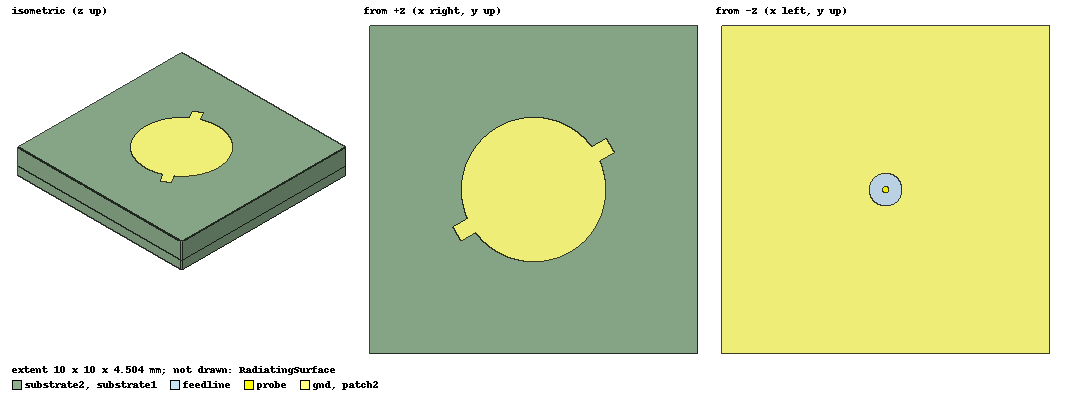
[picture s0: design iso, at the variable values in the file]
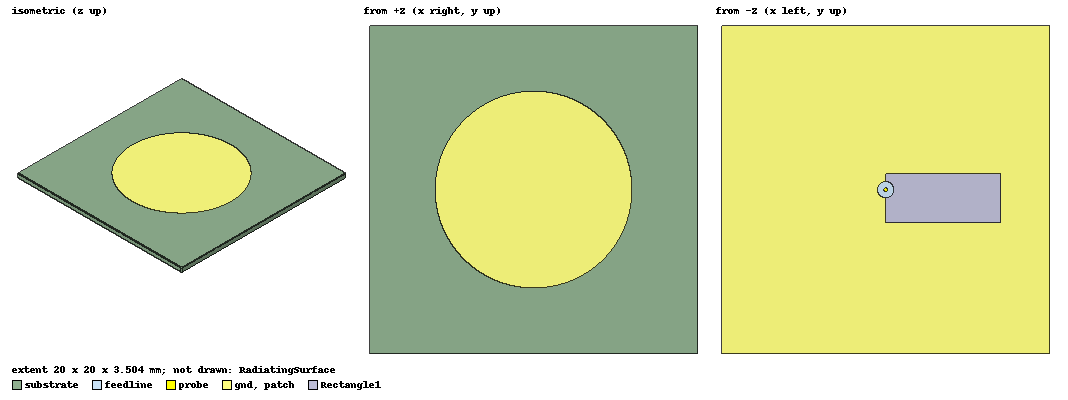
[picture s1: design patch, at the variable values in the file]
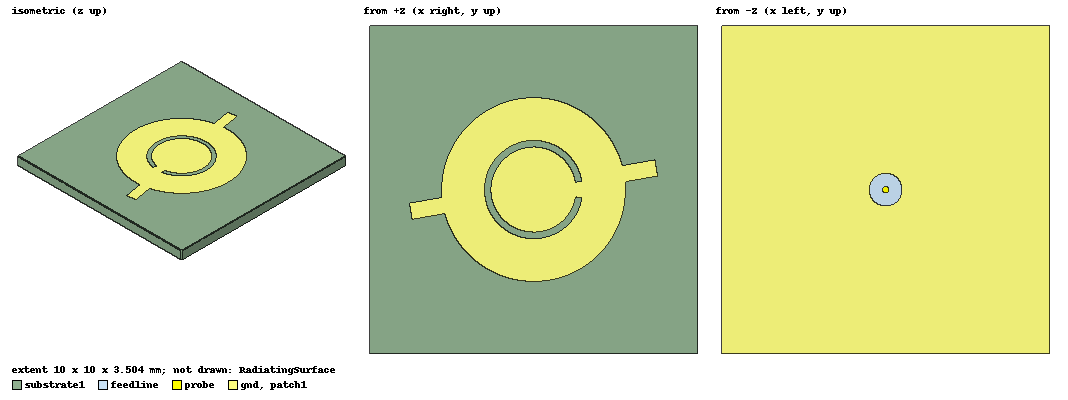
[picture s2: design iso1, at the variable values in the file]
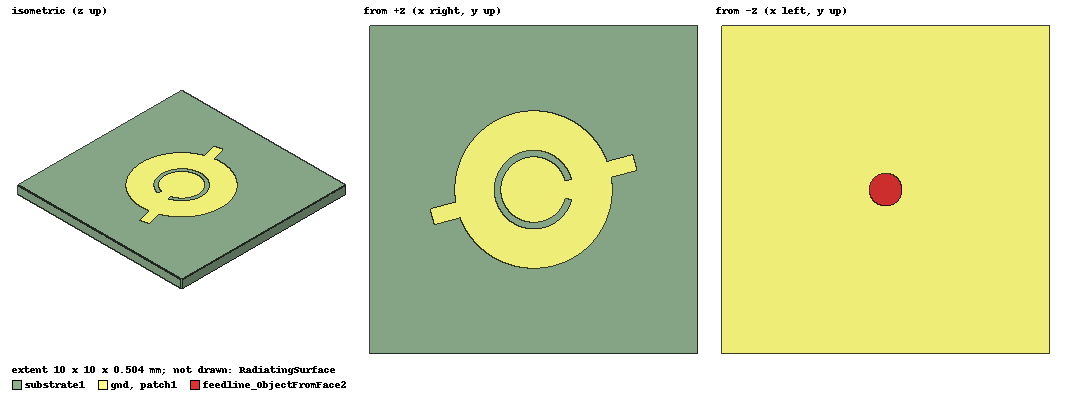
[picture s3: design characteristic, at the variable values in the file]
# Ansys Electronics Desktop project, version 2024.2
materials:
  vacuum: permittivity=1
  Rogers RT/duroid 5880 (tm): permittivity=2.2 dielectric_loss_tangent=0.0009
  pec: conductivity=1e+30
  Material2: permittivity=3.4 dielectric_loss_tangent=0.002
  Material1: permittivity=2.2
  copper: permeability=0.999991 conductivity=58000000

design iso (HFSS, HFSS Modal Network, model units mm)
options: Allow_Material_Override
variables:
  l = 10mm
  w = 10mm
  sub1h = 0.504mm
  posx = 0mm
  posy = 0mm
  a = 2.4mm
  beta = 9deg
  r1 = r2+wc
  r2 = 0.9mm
  ls = 1mm  # optimise 0.5mm..1.5mm
  ws = 0.75mm  # optimise 0.375mm..1.125mm
  alpha = 10deg  # optimise 5deg..15deg
  sub2h = 1mm
  a2 = 2.2mm
  ls2 = 0.5mm  # optimise 0.25mm..0.75mm
  ws2 = 0.5mm  # optimise 0.25mm..0.75mm
  alpha2 = 30deg  # optimise 15deg..45deg
  wc = 0.2mm
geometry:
  substrate1 [Rogers RT/duroid 5880 (tm)] = box(corner=(l/2, w/2, 0mm), size=(-l, -w, sub1h))
  RadiatingSurface [vacuum] = region(absolute_offset: +X=3.3333333mm, -X=3.3333333mm, +Y=3.3333333mm, -Y=3.3333333mm, +Z=3.3333333mm, -Z=0mm)
  gnd = object_from(substrate1.face(-z))
  feedline [vacuum] = cylinder(axis=Z, base_centre=(posx, posy, -3mm), radius=0.5mm, height=3mm)
  probe [pec] = cylinder(axis=Z, base_centre=(posx, posy, -3mm), radius=0.1mm, height=sub1h+3mm)
  patch1 = circle(normal=Z, centre=(0mm, 0mm, sub1h), radius=a)
  feedline_ObjectFromFace1 = object_from(feedline.face(+z end))
  gnd.subtract(feedline_ObjectFromFace1)
  Polyline1 = polyline((r1*cos(beta), r1*sin(beta), sub1h) (-1.1mm, 1.3877788e-16mm, 0.504mm) (1.0864572mm, -0.17207791mm, 0.504mm), AngularArc from point 0 over 3 centre=(0mm, 0mm, sub1h) angle=360deg-2*beta plane=XY)
  Polyline2 = polyline((r2*cos(beta), r2*sin(beta), sub1h) (-0.9mm, 5.5511151e-17mm, 0.504mm) (0.88891951mm, -0.14079102mm, 0.504mm), AngularArc from point 0 over 3 centre=(0mm, 0mm, sub1h) angle=360deg-2*beta plane=XY)
  Polyline3 = polyline((r1*cos(beta), r1*sin(beta), sub1h) (r2*cos(beta), r2*sin(beta), sub1h))
  Polyline4 = polyline((r1*cos(beta), -r1*sin(beta), sub1h) (r2*cos(beta), -r2*sin(beta), sub1h))
  Polyline4.unite(Polyline1, Polyline2, Polyline3)
  Polyline4.cover_lines()
  Rectangle1 = rectangle(corner=(-ls-a, -ws/2, sub1h), x_size=ls+a, y_size=ws)
  Rectangle1_1 = Rectangle1.duplicate_around_axis(axis=Z, angle=180deg, total=2)
  Rectangle1_1.unite(Rectangle1)
  Rectangle1_1.rotate(axis=Z, angle=alpha)
  substrate2 [Rogers RT/duroid 5880 (tm)] = box(corner=(5mm, 5mm, sub1h), size=(-10mm, -10mm, sub2h))
  patch2 = circle(normal=Z, centre=(0mm, 0mm, sub1h+sub2h), radius=a2)
  Rectangle2 = rectangle(corner=(-ls2-a2, -ws2/2, sub1h+sub2h), x_size=ls2+a2, y_size=ws2)
  Rectangle1_2 = Rectangle2.duplicate_around_axis(axis=Z, angle=180deg, total=2)
  Rectangle1_2.unite(Rectangle2)
  Rectangle1_2.rotate(axis=Z, angle=alpha2)
  patch1.unite(Rectangle1_1)
  patch2.unite(Rectangle1_2)
  patch1.subtract(Polyline4)
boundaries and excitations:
  AutoOpen1: Radiation Objects=RadiatingSurface
  FiniteCond1: Finite Conductivity Objects=[gnd, patch1] Conductivity=58000000 Permeability=1 IsInternal
  PerfE1: Perfect E Faces=feedline.face(side)
  FiniteCond2: Finite Conductivity Objects=patch2 Conductivity=58000000 Permeability=1 IsInternal
  1: Wave Port Faces=feedline.face(-z end) WavePortType=Modal NumModes=1 Modes{Mode1{CharImp=Zpi}}
  reference conductors: probe
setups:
  Auto1: HfssDriven Frequency=30GHz MaxDeltaS=0.02 MaximumPasses=10 MinimumPasses=1 MinimumConvergedPasses=1 PercentRefinement=30 BasisOrder=1 PortAccuracy=2 DrivenSolverType="Direct Solver"
    sweep Sweep: 15GHz to 25GHz step 0.2GHz; Type=Discrete SaveFields
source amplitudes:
  1:1: 1 0deg
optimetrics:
  a: Parametric Sim._Setups=[Auto1]
    sweep a: LIN 2.5mm 2.7mm 0.1mm
  alpha: Parametric Sim._Setups=[Auto1]
    sweep alpha: LIN 10deg 20deg 10deg
  beta: Parametric Sim._Setups=[Auto1]
    sweep beta: LIN 5deg 10deg 2deg
  r2: Parametric Sim._Setups=[Auto1]
    sweep r2: LIN 0.8mm 1mm 0.2mm
  ls: Parametric Sim._Setups=[Auto1]
    sweep ls: LIN 0.8mm 1.2mm 0.2mm
  ls2: Parametric Sim._Setups=[Auto1]
    sweep ls2: LIN 0.5mm 0.6mm 0.1mm
  a2: Parametric Sim._Setups=[Auto1]
    sweep a2: 1.8mm
  wc: Parametric Sim._Setups=[Auto1]
    sweep wc: LIN 0.3mm 0.4mm 0.1mm
  alpha2: Parametric Sim._Setups=[Auto1]
    sweep alpha2: LIN 30deg 40deg 10deg
  ws: Parametric Sim._Setups=[Auto1]
    sweep ws: LIN 0.25mm 0.75mm 0.5mm
  ws2: Parametric Sim._Setups=[Auto1]
    sweep ws2: LIN 0.25mm 0.75mm 0.5mm
  OptimizationSetup1: Optimization Optimizer="DX SCREENING" AnalysisStopOptions{StopForNumIteration MaxNumIteration=100 MinNumIteration=10} CostFuncNormType=L2 Acceptable_Cost=0 Noise=0.0001 UpdateDesignWhenDone
    goal dB(AxialRatioValue) <= 3 weight 1 on Auto1 : Sweep at Theta 0deg, Phi 0deg, Freq 19GHz,19.2GHz,19.4GHz,19.6GHz,19.8GHz,20GHz,20.2GHz,20.4GHz,20.6GHz,20.8GHz,21GHz
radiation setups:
  3D: Infinite Sphere Theta=0deg..180deg step 2deg Phi=-180deg..180deg step 2deg
  Elevation: Infinite Sphere Theta=-180deg..180deg step 1deg Phi=0deg..90deg step 90deg
  Azimuth: Infinite Sphere Theta=90deg..90deg step 0deg Phi=-180deg..180deg step 1deg
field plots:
  Vector_Jsurf1: Jsurf over patch1.face(at (0, 0, 0.504)) on Auto1 : Sweep at Freq=19GHz Phase=0deg
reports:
  S Parameter Plot 1: dB(S(1,1)) vs Freq on Auto1 : Sweep [r2=all]; markers MX1 at x=1.8767034e+10, MY1 at y=-10
  Axial Ratio Plot 1: dB(AxialRatioValue) vs Freq on Auto1 : Sweep, 3D [Phi=0deg Theta=0deg beta=9deg,10deg,15deg]

design patch (HFSS, HFSS Modal Network, model units mm)
options: Allow_Material_Override
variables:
  l = 20mm
  w = 20mm
  sub1h = 0.504mm
  posx = 0mm
  posy = 0mm
  a = 6mm
  beta = 30deg
  r1 = 4mm
  r2 = 3mm
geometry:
  substrate [Rogers RT/duroid 5880 (tm)] = box(corner=(l/2, w/2, 0mm), size=(-l, -w, sub1h))
  RadiatingSurface [vacuum] = region(absolute_offset: +X=3.3333333mm, -X=3.3333333mm, +Y=3.3333333mm, -Y=3.3333333mm, +Z=3.3333333mm, -Z=0mm)
  gnd = object_from(substrate.face(-z))
  feedline [vacuum] = cylinder(axis=Z, base_centre=(posx, posy, -3mm), radius=0.5mm, height=3mm)
  probe [pec] = cylinder(axis=Z, base_centre=(posx, posy, -3mm), radius=0.1mm, height=sub1h+3mm)
  patch = circle(normal=Z, centre=(0mm, 0mm, sub1h), radius=a)
  feedline_ObjectFromFace1 = object_from(feedline.face(+z end))
  gnd.subtract(feedline_ObjectFromFace1)
  Rectangle1 = rectangle(corner=(-7mm, -2mm, 0mm), x_size=7mm, y_size=3mm)
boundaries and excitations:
  AutoOpen1: Radiation Objects=RadiatingSurface
  FiniteCond1: Finite Conductivity Objects=[gnd, patch] Conductivity=58000000 Permeability=1 IsInternal
  PerfE1: Perfect E Faces=feedline.face(side)
  1: Wave Port Faces=feedline.face(-z end) WavePortType=Modal NumModes=1 Modes{Mode1{CharImp=Zpi}}
  reference conductors: probe
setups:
  Auto1: HfssDriven Frequency=30GHz MaxDeltaS=0.02 MaximumPasses=10 MinimumPasses=1 MinimumConvergedPasses=1 PercentRefinement=30 BasisOrder=1 PortAccuracy=2 DrivenSolverType="Direct Solver"
    sweep Sweep: 15GHz to 45GHz, 401 points; Type=Interpolating SaveFields InterpTolerance=0.5 InterpMaxSolns=250 InterpUsePortImped=false PassivityErrorTolerance=0.0001
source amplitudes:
  1:1: 1 0deg
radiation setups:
  3D: Infinite Sphere Theta=0deg..180deg step 2deg Phi=-180deg..180deg step 2deg
  Elevation: Infinite Sphere Theta=-180deg..180deg step 1deg Phi=0deg..90deg step 90deg
  Azimuth: Infinite Sphere Theta=90deg..90deg step 0deg Phi=-180deg..180deg step 1deg
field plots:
  Vector_Jsurf1: Jsurf over patch.face on Auto1 : Sweep at Freq=22.5GHz Phase=0deg
  Vector_E1: E Field over substrate.face(+z) on Auto1 : Sweep at Freq=40.3125GHz Phase=0deg
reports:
  S Parameter Plot 1: dB(S(1,1)) vs Freq on Auto1 : Sweep; markers m1 at 22.35GHz, m2 at 38.325GHz, m3 at 41.1GHz

design iso1 (HFSS, HFSS Modal Network, model units mm)
options: Allow_Material_Override
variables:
  l = 10mm
  w = 10mm
  sub1h = 0.504mm
  posx = 0mm
  posy = 0mm
  a = 2.8mm
  beta = 10deg
  r1 = r2+wc
  r2 = 1.3mm
  ls = 1mm
  ws = 0.5mm
  alpha = 10deg
  sub2h = 1mm
  a2 = 2mm
  ls2 = 0.7mm
  ws2 = ls2
  alpha2 = 45deg
  wc = 0.2mm
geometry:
  substrate1 [Rogers RT/duroid 5880 (tm)] = box(corner=(l/2, w/2, 0mm), size=(-l, -w, sub1h))
  RadiatingSurface [vacuum] = region(absolute_offset: +X=3.3333333mm, -X=3.3333333mm, +Y=3.3333333mm, -Y=3.3333333mm, +Z=3.3333333mm, -Z=0mm)
  gnd = object_from(substrate1.face(-z))
  feedline [vacuum] = cylinder(axis=Z, base_centre=(posx, posy, -3mm), radius=0.5mm, height=3mm)
  probe [pec] = cylinder(axis=Z, base_centre=(posx, posy, -3mm), radius=0.1mm, height=sub1h+3mm)
  feedline_ObjectFromFace1 = object_from(feedline.face(+z end))
  gnd.subtract(feedline_ObjectFromFace1)
  patch1 = circle(normal=Z, centre=(0mm, 0mm, sub1h), radius=a)
  Rectangle1 = rectangle(corner=(-ls-a, -ws/2, sub1h), x_size=ls+a, y_size=ws)
  Rectangle1_1 = Rectangle1.duplicate_around_axis(axis=Z, angle=180deg, total=2)
  Rectangle1_1.unite(Rectangle1)
  Rectangle1_1.rotate(axis=Z, angle=alpha)
  patch1.unite(Rectangle1_1)
  Polyline4 = polyline((r1*cos(beta), -r1*sin(beta), sub1h) (r2*cos(beta), -r2*sin(beta), sub1h))
  Polyline1 = polyline((r1*cos(beta), r1*sin(beta), sub1h) (-1.5mm, -5.5511151e-17mm, 0.504mm) (1.4772116mm, -0.26047227mm, 0.504mm), AngularArc from point 0 over 3 centre=(0mm, 0mm, sub1h) angle=360deg-2*beta plane=XY)
  Polyline2 = polyline((r2*cos(beta), r2*sin(beta), sub1h) (-1.3mm, -5.5511151e-17mm, 0.504mm) (1.2802501mm, -0.22574263mm, 0.504mm), AngularArc from point 0 over 3 centre=(0mm, 0mm, sub1h) angle=360deg-2*beta plane=XY)
  Polyline3 = polyline((r1*cos(beta), r1*sin(beta), sub1h) (r2*cos(beta), r2*sin(beta), sub1h))
  Polyline4.unite(Polyline1, Polyline2, Polyline3)
  Polyline4.cover_lines()
  patch1.subtract(Polyline4)
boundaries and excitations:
  AutoOpen1: Radiation Objects=RadiatingSurface
  FiniteCond1: Finite Conductivity Objects=gnd Conductivity=58000000 Permeability=1 IsInternal
  PerfE1: Perfect E Faces=feedline.face(side)
  FiniteCond2: Finite Conductivity Objects=patch1 Conductivity=58000000 Permeability=1 IsInternal
  1: Wave Port Faces=feedline.face(-z end) WavePortType=Modal NumModes=1 Modes{Mode1{CharImp=Zpi}}
  reference conductors: probe
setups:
  Auto1: HfssDriven Frequency=30GHz MaxDeltaS=0.02 MaximumPasses=10 MinimumPasses=1 MinimumConvergedPasses=1 PercentRefinement=30 BasisOrder=1 PortAccuracy=2 DrivenSolverType="Direct Solver"
    sweep Sweep: 15GHz to 30GHz step 0.1GHz; Type=Interpolating SaveFields InterpTolerance=0.5 InterpMaxSolns=250 InterpUsePortImped=false PassivityErrorTolerance=0.0001
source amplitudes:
  1:1: 1 0deg
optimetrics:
  a: Parametric Sim._Setups=[Auto1]
    sweep a: LIN 2.5mm 2.7mm 0.1mm
  alpha: Parametric Sim._Setups=[Auto1]
    sweep alpha: LIN 30deg 60deg 30deg
  beta: Parametric Sim._Setups=[Auto1]
    sweep beta: 10deg
  r2: Parametric Sim._Setups=[Auto1]
    sweep r2: LIN 1mm 1.2mm 0.1mm
  ls: Parametric Sim._Setups=[Auto1]
    sweep ls: 1mm
  ls2: Parametric Sim._Setups=[Auto1]
    sweep ls2: 0.6mm
  a2: Parametric Sim._Setups=[Auto1]
    sweep a2: 1.8mm
  wc: Parametric Sim._Setups=[Auto1]
    sweep wc: LIN 0.3mm 0.4mm 0.1mm
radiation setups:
  3D: Infinite Sphere Theta=0deg..180deg step 2deg Phi=-180deg..180deg step 2deg
  Elevation: Infinite Sphere Theta=-180deg..180deg step 1deg Phi=0deg..90deg step 90deg
  Azimuth: Infinite Sphere Theta=90deg..90deg step 0deg Phi=-180deg..180deg step 1deg
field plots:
  Vector_Jsurf1: Jsurf over patch1.face(at (0, 0, 0.504)) on Auto1 : Sweep at Freq=16.40625GHz Phase=90deg
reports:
  S Parameter Plot 1: dB(S(1,1)) vs Freq on Auto1 : Sweep [ls=all ws=all]; markers MX1 at x=1.6493599e+10, MY1 at y=-10
  Axial Ratio Plot 1: dB(AxialRatioValue) vs Freq on Auto1 : Sweep, 3D [Phi=0deg Theta=0deg]

design 20G-cp-wideband (HFSS, HFSS Modal Network, model units mm)
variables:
  sub1w = 10mm
  sub1l = 10mm
  sub1h = (0.254*1.4) mm
  lambda20 = 15mm
  w1 = l1
  l1 = 3.15mm
  r_feed = 0.1mm
  posx = x0*cos(theta_r) mm
  posy = x0*sin(theta_r) mm
  r_feedhole = 0.3mm
  w2 = l2
  l2 = 3.6mm
  posx2 = 0.5mm
  cuth = 1mm
  h2 = 1mm
  theta_r = 0
  x0 = 1.41*1.4
  sub2h = 1.1018mm
  d1 = (0.68*1.4) mm
  linew = (0.5*1.4) mm
  c1 = 0.7mm
  c2 = c1
  r1 = 0.41mm
  r2 = 0.26mm
  a = 0mm
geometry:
  Rectangle1 = rectangle(corner=(-l1/2, -w1/2, sub1h), x_size=l1, y_size=w1)
  Cylinder1 [pec] = cylinder(axis=Z, base_centre=(posx, posy, 0mm), radius=r_feed, height=sub1h)
  Circle1 = circle(normal=Z, centre=(posx, posy, 0mm), radius=r_feedhole)
  RadiatingSurface [vacuum] = region(absolute_offset=5mm on all sides)
  Box1 [Material2] = box(corner=(-sub1l/2, -sub1w/2, 0mm), size=(sub1l, sub1w, sub1h))
  Box1_ObjectFromFace1 = object_from(Box1.face(-z))
  Circle1_1 = Circle1.copy()
  Box1_ObjectFromFace1.subtract(Circle1_1)
  Rectangle2 = rectangle(corner=(-l2/2, -w2/2, sub1h+sub2h), x_size=l2, y_size=w2)
  Box2 [Rogers RT/duroid 5880 (tm)] = box(corner=(-sub1l/2, -sub1w/2, sub1h), size=(sub1l, sub1w, sub2h))
  Rectangle3 = rectangle(corner=(l1/2+d1, -linew/2, sub1h), x_size=-d1, y_size=linew)
  Rectangle4 = rectangle(corner=(-c1/2, -c2/2, sub1h), x_size=c1, y_size=c2)
  Rectangle4.rotate(axis=Z, angle=-45deg)
  Rectangle4_1 = Rectangle4.duplicate_along_line(step=(-l1/2-a, -w1/2-a, 0mm), total=2)
  Rectangle4_2 = Rectangle4.duplicate_along_line(step=(l1/2+a, w1/2+a, 0mm), total=2)
  Rectangle4.unite(Rectangle4_1, Rectangle4_2, Rectangle3, Rectangle1)
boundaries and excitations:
  AutoOpen1: Radiation Objects=RadiatingSurface
  PerfE1: Perfect E Objects=Box1_ObjectFromFace1
  FiniteCond6: Finite Conductivity Objects=Rectangle2 Conductivity=58000000 Permeability=1 IsInternal
  FiniteCond7: Finite Conductivity Objects=Rectangle4 Conductivity=58000000 Permeability=1 IsInternal
  1: Lumped Port Objects=Circle1 LumpedPortType=Modal Modes{Mode1{IntLine{(1.974, 0, 0) -> (2.274, 0, 0)} CharImp=Zpi RenormImp=50ohm}} Impedance=50ohm
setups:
  Setup2: HfssDriven Frequency=23GHz MaxDeltaS=0.02 MaximumPasses=6 MinimumPasses=1 MinimumConvergedPasses=1 PercentRefinement=30 BasisOrder=1 PortAccuracy=2 DrivenSolverType="Direct Solver"
    sweep Sweep: 10GHz to 30GHz, 101 points; Type=Discrete SaveFields
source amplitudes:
  1:1: 1W 0deg
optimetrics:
  L1: Parametric Sim._Setups=[Setup2]
    sweep l1: LINC 3.1mm 3.2mm 2
  w: Parametric
  posx: Parametric
  theta_r: Parametric
    sweep theta_r: LINC 1.2 1.4 2
  x0: Parametric
  l2: Parametric Sim._Setups=[Setup2]
    sweep l2: LINC 3.5mm 3.6mm 4
  c1: Parametric Sim._Setups=[Setup2]
    sweep c1: LINC 0.6mm 0.8mm 2
  sub2h: Parametric Sim._Setups=[Setup2]
    sweep sub2h: LINC 1mm 1.2mm 2
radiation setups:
  3D: Infinite Sphere Theta=-180deg..180deg step 1deg Phi=0deg..180deg step 5deg
  Elevation: Infinite Sphere Theta=-90deg..90deg step 2deg Phi=0deg..0deg step 0deg
  Azimuth: Infinite Sphere Theta=90deg..90deg step 0deg Phi=-180deg..180deg step 1deg
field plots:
  Vector_Jsurf1: Jsurf over Rectangle2.face on Setup2 : LastAdaptive at Freq=23GHz Phase=0deg
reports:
  Gain Plot 1: RealizedGainTotal vs Theta on Setup2 : LastAdaptive, Elevation [Phi=0deg Freq=29GHz]; markers m1 at 0deg
  S Parameter Plot 1: dB(S(1,1)) vs Freq on Setup2 : Sweep [sub2h=all]
  AR-f: dB(AxialRatioValue) vs Freq on Setup2 : Sweep, 3D [Phi=0deg Theta=0deg sub2h=all]; markers m1 at 20GHz, m2 at 20GHz, m3 at 20GHz, m4 at 20GHz, m6 at 30GHz, m7 at 20.34GHz, m8 at 22.68GHz, MY1 at y=3
  AR-theta: dB(AxialRatioValue) vs Theta on Setup2 : Sweep, 3D [Phi=0deg Freq=19.2GHz,19.6GHz,20GHz,20.4GHz,20.8GHz,21.2GHz,21.6GHz,22GHz]; markers MY1 at y=3
  rEx-f: im(rEX) vs Theta on Setup2 : Sweep, Elevation [Phi=all Freq=27.02GHz,27.86GHz,28.76GHz,29.54GHz,30.14GHz]
  Z Parameter Plot 1: re(Z(1,1)), im(Z(1,1)) vs Freq on Setup2 : Sweep

design characteristic (HFSS, Characteristic Mode, model units mm)
options: Allow_Material_Override
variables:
  l = 10mm
  w = 10mm
  sub1h = 0.504mm
  posx = 0mm
  posy = 0mm
  a = 2.4mm
  beta = 15deg
  r1 = r2+wc
  r2 = 1mm
  ls = 0.8mm
  ws = 0.5mm
  alpha = 15deg
  sub2h = 1mm
  a2 = 2mm
  ls2 = 0.5mm
  ws2 = 0.5mm
  alpha2 = 15deg
  wc = 0.2mm
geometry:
  substrate1 [Material1] = box(corner=(l/2, w/2, 0mm), size=(-l, -w, sub1h))
  RadiatingSurface [vacuum] = region(absolute_offset: +X=3.3333333mm, -X=3.3333333mm, +Y=3.3333333mm, -Y=3.3333333mm, +Z=3.3333333mm, -Z=0mm)
  gnd = object_from(substrate1.face(-z))
  feedline = cylinder(axis=Z, base_centre=(posx, posy, -3mm), radius=0.5mm, height=3mm)
  patch1 [copper] = circle(normal=Z, centre=(0mm, 0mm, sub1h), radius=a)
  feedline_ObjectFromFace1 = object_from(feedline.face(+z end))
  feedline.delete()
  gnd.subtract(feedline_ObjectFromFace1)
  Polyline1 = polyline((r1*cos(beta), r1*sin(beta), sub1h) (-1.2mm, 4.4408921e-16mm, 0.504mm) (1.159111mm, -0.31058285mm, 0.504mm), AngularArc from point 0 over 3 centre=(0mm, 0mm, sub1h) angle=360deg-2*beta plane=XY)
  Polyline2 = polyline((r2*cos(beta), r2*sin(beta), sub1h) (-1mm, 3.3306691e-16mm, 0.504mm) (0.96592583mm, -0.25881905mm, 0.504mm), AngularArc from point 0 over 3 centre=(0mm, 0mm, sub1h) angle=360deg-2*beta plane=XY)
  Polyline3 = polyline((r1*cos(beta), r1*sin(beta), sub1h) (r2*cos(beta), r2*sin(beta), sub1h))
  Polyline4 = polyline((r1*cos(beta), -r1*sin(beta), sub1h) (r2*cos(beta), -r2*sin(beta), sub1h))
  Polyline4.unite(Polyline1, Polyline2, Polyline3)
  Polyline4.cover_lines()
  Rectangle1 = rectangle(corner=(-ls-a, -ws/2, sub1h), x_size=ls+a, y_size=ws)
  Rectangle1_1 = Rectangle1.duplicate_around_axis(axis=Z, angle=180deg, total=2)
  Rectangle1_1.unite(Rectangle1)
  Rectangle1_1.rotate(axis=Z, angle=alpha)
  patch1.unite(Rectangle1_1)
  patch1.subtract(Polyline4)
  feedline1 = cylinder(axis=Z, base_centre=(posx, posy, -3mm), radius=0.5mm, height=3mm)
  feedline_ObjectFromFace2 = object_from(feedline1.face(+z end))
  feedline1.delete()
  probe [pec] = cylinder(axis=Z, base_centre=(posx, posy, 0), radius=0.1mm, height=sub1h)
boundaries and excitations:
  PerfE1: Perfect E Objects=gnd
  PerfE2: Perfect E Objects=patch1
  gnd_T1: Terminal port=1 Edges=gnd.edge(at (-0.5, 0, 0)) TerminalResistance=50ohm
  1: Lumped Port Faces=feedline_ObjectFromFace2.face Impedance=50ohm
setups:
  Setup1: HfssCMA ModalSignificance=0.02 MaxDeltaE=0.02 AdaptiveFreq=30GHz MaximumPasses=3 MinimumPasses=1 MinimumConvergedPasses=1 PercentRefinement=30 BasisOrder=0
    sweep Sweep: 10GHz to 30GHz step 1GHz; Type=Discrete
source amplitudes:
  #-10:1: 1 0deg
  #-10:2..#-10:10, 1:2..1:10: 0 0deg
  1:1: 0W 0deg
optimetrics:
  a: Parametric
    sweep a: LIN 2.5mm 2.7mm 0.1mm
  alpha: Parametric
    sweep alpha: LIN 20deg 30deg 10deg
  beta: Parametric
    sweep beta: LIN 10deg 20deg 5deg
  r2: Parametric
    sweep r2: LIN 1mm 1.2mm 0.1mm
  ls: Parametric
    sweep ls: LIN 0.8mm 1.2mm 0.2mm
  ls2: Parametric
    sweep ls2: LIN 0.3mm 0.7mm 0.4mm
  a2: Parametric
    sweep a2: 1.8mm
  wc: Parametric
    sweep wc: LIN 0.3mm 0.4mm 0.1mm
  alpha2: Parametric
    sweep alpha2: LIN 10deg 20deg 10deg
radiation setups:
  3D: Infinite Sphere Theta=0deg..180deg step 2deg Phi=-180deg..180deg step 2deg
  Elevation: Infinite Sphere Theta=-180deg..180deg step 1deg Phi=0deg..90deg step 90deg
  Azimuth: Infinite Sphere Theta=90deg..90deg step 0deg Phi=-180deg..180deg step 1deg
